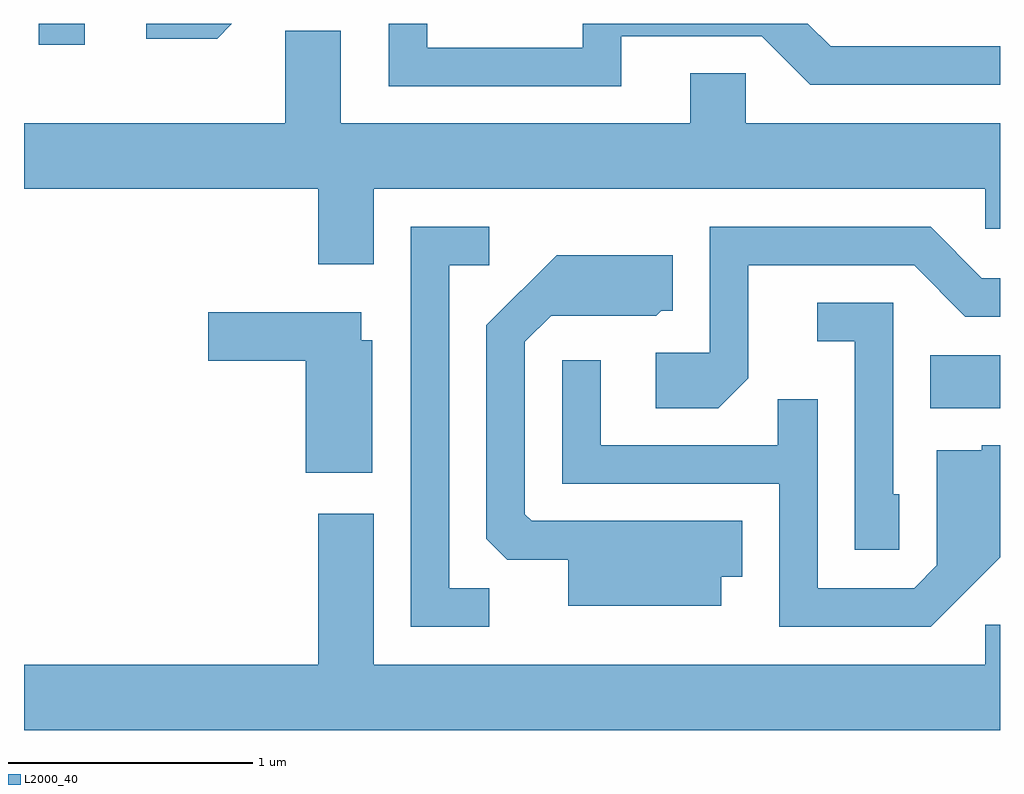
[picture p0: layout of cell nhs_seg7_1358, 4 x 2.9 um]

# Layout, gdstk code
import gdstk
lib = gdstk.Library(unit=1e-6, precision=1e-09)
def R(c, l, rs):  # rectangles x0, y0, x1, y1
    for r in rs: c.add(gdstk.rectangle(r[:2], r[2:], *l))
def P(c, l, *ps):  # polygons
    for p in ps: c.add(gdstk.Polygon(p, *l))
L2000_40 = (2000, 40)

nhs_seg7_1358 = lib.new_cell('nhs_seg7_1358')
R(nhs_seg7_1358, L2000_40, [(229.326,1786.676,229.611,1786.894), (225.671,1788.166,225.859,1788.252)])
P(nhs_seg7_1358, L2000_40, [(228.059,1788.201),(228.634,1788.201),(228.834,1788.001),(229.611,1788.001),(229.611,1788.159),(228.917,1788.159),(228.824,1788.252),(227.901,1788.252),(227.901,1788.154),(227.264,1788.154),(227.264,1788.252),(227.106,1788.252),(227.106,1787.996),(228.059,1787.996)],
  [(226.463,1788.252),(226.113,1788.252),(226.113,1788.191),(226.402,1788.191)],
  [(227.044,1787.576),(229.551,1787.576),(229.551,1787.411),(229.611,1787.411),(229.611,1787.844),(228.569,1787.844),(228.569,1788.049),(228.341,1788.049),(228.341,1787.844),(226.909,1787.844),(226.909,1788.224),(226.681,1788.224),(226.681,1787.844),(225.611,1787.844),(225.611,1787.576),(226.816,1787.576),(226.816,1787.266),(227.044,1787.266)],
  [(227.518,1785.939),(227.354,1785.939),(227.354,1787.261),(227.518,1787.261),(227.518,1787.419),(227.196,1787.419),(227.196,1785.781),(227.518,1785.781)],
  [(228.579,1786.799),(228.579,1787.261),(229.259,1787.261),(229.469,1787.051),(229.611,1787.051),(229.611,1787.209),(229.537,1787.209),(229.327,1787.419),(228.421,1787.419),(228.421,1786.904),(228.201,1786.904),(228.201,1786.676),(228.457,1786.676)],
  [(228.469,1785.986),(228.554,1785.986),(228.554,1786.214),(227.692,1786.214),(227.664,1786.242),(227.664,1786.949),(227.772,1787.056),(228.202,1787.056),(228.222,1787.076),(228.269,1787.076),(228.269,1787.304),(227.794,1787.304),(227.506,1787.017),(227.506,1786.142),(227.592,1786.056),(227.841,1786.056),(227.841,1785.866),(228.469,1785.866)],
  [(229.199,1786.324),(229.174,1786.324),(229.174,1787.109),(228.863,1787.109),(228.863,1786.951),(229.016,1786.951),(229.016,1786.096),(229.199,1786.096)],
  [(227.039,1786.954),(226.994,1786.954),(226.994,1787.069),(226.366,1787.069),(226.366,1786.871),(226.766,1786.871),(226.766,1786.411),(227.039,1786.411)],
  [(229.611,1786.065),(229.611,1786.524),(229.536,1786.524),(229.536,1786.504),(229.351,1786.504),(229.351,1786.032),(229.259,1785.939),(228.864,1785.939),(228.864,1786.713),(228.701,1786.713),(228.701,1786.524),(227.974,1786.524),(227.974,1786.873),(227.816,1786.873),(227.816,1786.366),(228.706,1786.366),(228.706,1785.781),(229.327,1785.781)],
  [(229.611,1785.789),(229.551,1785.789),(229.551,1785.624),(227.044,1785.624),(227.044,1786.244),(226.816,1786.244),(226.816,1785.624),(225.611,1785.624),(225.611,1785.356),(229.611,1785.356)])

lib.write_gds('nhs_seg7_1358.gds')
